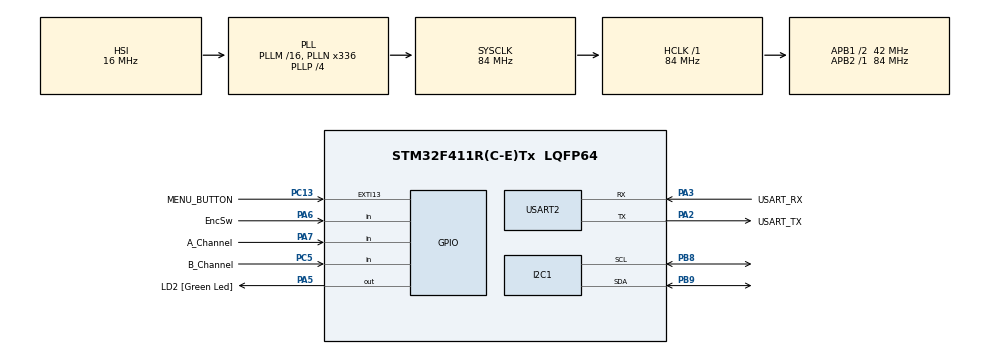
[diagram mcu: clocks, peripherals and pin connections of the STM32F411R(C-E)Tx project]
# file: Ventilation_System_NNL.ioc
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Mcu.Family=STM32F4
Mcu.Name=STM32F411R(C-E)Tx
Mcu.Package=LQFP64
NVIC.EXTI15_10_IRQn=true\:0\:0\:false\:false\:true\:true\:true\:true
NVIC.PriorityGroup=NVIC_PRIORITYGROUP_0
PA13.GPIO_Label=TMS
PA13.Mode=Serial_Wire
PA13.Signal=SYS_JTMS-SWDIO
PA14.GPIO_Label=TCK
PA14.Mode=Serial_Wire
PA14.Signal=SYS_JTCK-SWCLK
PA2.GPIO_Label=USART_TX
PA2.Mode=Asynchronous
PA2.Signal=USART2_TX
PA3.GPIO_Label=USART_RX
PA3.Mode=Asynchronous
PA3.Signal=USART2_RX
PA5.GPIO_Label=LD2 [Green Led]
PA5.Signal=GPIO_Output
PA6.GPIO_Label=EncSw
PA6.Signal=GPIO_Input
PA7.GPIO_Label=A_Channel
PA7.Signal=GPIO_Input
PB3.GPIO_Label=SWO
PB3.Signal=SYS_JTDO-SWO
PB8.Mode=I2C
PB8.Signal=I2C1_SCL
PB9.Mode=I2C
PB9.Signal=I2C1_SDA
PC13-ANTI_TAMP.GPIO_Label=MENU_BUTTON
PC13-ANTI_TAMP.GPIO_ModeDefaultEXTI=GPIO_MODE_IT_FALLING
PC13-ANTI_TAMP.Signal=GPXTI13
PC14-OSC32_IN.Mode=LSE-External-Oscillator
PC14-OSC32_IN.Signal=RCC_OSC32_IN
PC15-OSC32_OUT.Mode=LSE-External-Oscillator
PC15-OSC32_OUT.Signal=RCC_OSC32_OUT
PC5.GPIO_Label=B_Channel
PC5.Signal=GPIO_Input
PH0\ -\ OSC_IN.Mode=HSE-External-Clock-Source
PH0\ -\ OSC_IN.Signal=RCC_OSC_IN
PH1\ -\ OSC_OUT.Mode=HSE-External-Clock-Source
PH1\ -\ OSC_OUT.Signal=RCC_OSC_OUT
ProjectManager.HeapSize=0x200
ProjectManager.StackSize=0x400
ProjectManager.TargetToolchain=STM32CubeIDE
RCC.48MHZClocksFreq_Value=84000000
RCC.AHBFreq_Value=84000000
RCC.APB1CLKDivider=RCC_HCLK_DIV2
RCC.APB1Freq_Value=42000000
RCC.APB1TimFreq_Value=84000000
RCC.APB2Freq_Value=84000000
RCC.APB2TimFreq_Value=84000000
RCC.CortexFreq_Value=84000000
RCC.FLatency-AdvancedSettings=FLASH_LATENCY_2
RCC.HCLKFreq_Value=84000000
RCC.HSE_VALUE=8000000
RCC.HSI_VALUE=16000000
RCC.PLLN=336
RCC.PLLP=RCC_PLLP_DIV4
RCC.SYSCLKFreq_VALUE=84000000
RCC.SYSCLKSource=RCC_SYSCLKSOURCE_PLLCLK
RCC.VCOOutputFreq_Value=336000000
USART2.VirtualMode=VM_ASYNC
board=NUCLEO-F411RE

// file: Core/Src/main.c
/* USER CODE BEGIN Header */
/**
  ******************************************************************************
  * @file           : main.c
  * @brief          : Main program body
  ******************************************************************************
  * @attention
  *
  * Copyright (c) 2026 STMicroelectronics.
  * All rights reserved.
  *
  * This software is licensed under terms that can be found in the LICENSE file
  * in the root directory of this software component.
  * If no LICENSE file comes with this software, it is provided AS-IS.
  *
  ******************************************************************************
  */
/* USER CODE END Header */
#include "main.h"

/* USER CODE BEGIN Includes */
#include <stdio.h>
/* USER CODE END Includes */

/* USER CODE BEGIN PTD */
typedef enum { //State Machine States
	STATE_TEMP_VIEW = 0,
	STATE_SET_ALARM_TEMP,
	STATE_SET_IDLE_TEMP,
	STATE_SET_SAMPLE_RATE,
	STATE_VIEW_THERMOCOUPLES,
	MAX_MENU_STATES
} MenuState_t;
/* USER CODE END PTD */

/* USER CODE BEGIN PD */
#define TIMEOUT_DURATION_MS 60000 // 1 minute timer
/* USER CODE END PD */

/* USER CODE BEGIN PM */
// 1602 I2C address
#define I2C_ADDR 0x27 // I2C address of the PCF8574
// 1602 dimensions
#define LCD_ROWS 2 // Number of rows on the LCD
#define LCD_COLS 16 // Number of columns on the LCD
// 1602 message bit numbers
#define DC_BIT 0 // Data/Command bit (register select bit)
#define EN_BIT 2 // Enable bit
#define BL_BIT 3 // Backlight bit
#define D4_BIT 4 // Data 4 bit
#define D5_BIT 5 // Data 5 bit
#define D6_BIT 6 // Data 6 bit
#define D7_BIT 7 // Data 7 bit
/* USER CODE END PM */

I2C_HandleTypeDef hi2c1;

UART_HandleTypeDef huart2;

/* USER CODE BEGIN PV */

int CW = 0;
int CCW = 0;
int MenuState = 0;
int A = 0;
int B = 0;
int set = 0;
int Gray = 0b00;
int Anext;
int Bnext;

static MenuState_t current_state = STATE_TEMP_VIEW;
static uint32_t last_interaction_tick = 0;

// Initial variables / testing variables
static int current_temp = 150;
static int alarm_temp_max = 650;
static int alarm_temp_old = 650;
static int alarm_temp_new = 500;
static int idle_temp_old = 140;
static int idle_temp_new = 150;
static int sample_rate_old = 60;
static int sample_rate_new = 30;
static int tc1_temp = 150;
static int tc2_temp = 150;
static int tc3_temp = 150;
/* USER CODE END PV */

void SystemClock_Config(void);
static void MX_GPIO_Init(void);
static void MX_USART2_UART_Init(void);
static void MX_I2C1_Init(void);
/* USER CODE BEGIN PFP */
//LCD functions
void CharLCD_Write_Nibble (uint8_t nibble, uint8_t dc);
void CharLCD_Send_Cmd(uint8_t cmd);
void CharLCD_Send_Data(uint8_t data);
void CharLCD_Init();
void CharLCD_Write_String(char *str);
void CharLCD_Set_Cursor(uint8_t row, uint8_t column);
void CharLCD_Clear(void);

//Menu functions
void Menu_Init(void);
void Menu_ButtonPress(void);
void Menu_EncoderRotate(int CW, int CCW);
void Menu_EncoderClick(void);
void Menu_Update(void);
static void Render_CurrentScreen(void);
static void Reset_Timeout(void);
/* USER CODE END PFP */

int main(void)
{

  /* MCU Configuration--------------------------------------------------------*/

  /* Reset of all peripherals, Initializes the Flash interface and the Systick. */
  HAL_Init();

  /* Configure the system clock */
  SystemClock_Config();

  /* Initialize all configured peripherals */
  MX_GPIO_Init();
  MX_USART2_UART_Init();
  MX_I2C1_Init();
  /* USER CODE BEGIN 2 */
  CharLCD_Init(); // Initialize the LCD and Menu
  Menu_Init();
  /* USER CODE END 2 */

  /* Infinite loop */
  /* USER CODE BEGIN WHILE */
  while (1)
  {
	  Menu_Update(); // Do menu things

	  // Menu button pressed
	  if (HAL_GPIO_ReadPin(GPIOC, MENU_BUTTON_Pin) == GPIO_PIN_RESET) {
		  HAL_Delay(50);
		  // Debounce
		  if (HAL_GPIO_ReadPin(GPIOC, MENU_BUTTON_Pin) == GPIO_PIN_RESET) {

			  Menu_ButtonPress();

			  while (HAL_GPIO_ReadPin(GPIOC, MENU_BUTTON_Pin) == GPIO_PIN_RESET) {
				  Menu_Update();
			  }
		  }
	  }
    /* USER CODE END WHILE */

  }
}

void SystemClock_Config(void)
{
  RCC_OscInitTypeDef RCC_OscInitStruct = {0};
  RCC_ClkInitTypeDef RCC_ClkInitStruct = {0};

  /** Configure the main internal regulator output voltage
  */
  __HAL_RCC_PWR_CLK_ENABLE();
  __HAL_PWR_VOLTAGESCALING_CONFIG(PWR_REGULATOR_VOLTAGE_SCALE1);

  /** Initializes the RCC Oscillators according to the specified parameters
  * in the RCC_OscInitTypeDef structure.
  */
  RCC_OscInitStruct.OscillatorType = RCC_OSCILLATORTYPE_HSI;
  RCC_OscInitStruct.HSIState = RCC_HSI_ON;
  RCC_OscInitStruct.HSICalibrationValue = RCC_HSICALIBRATION_DEFAULT;
  RCC_OscInitStruct.PLL.PLLState = RCC_PLL_ON;
  RCC_OscInitStruct.PLL.PLLSource = RCC_PLLSOURCE_HSI;
  RCC_OscInitStruct.PLL.PLLM = 16;
  RCC_OscInitStruct.PLL.PLLN = 336;
  RCC_OscInitStruct.PLL.PLLP = RCC_PLLP_DIV4;
  RCC_OscInitStruct.PLL.PLLQ = 4;
  if (HAL_RCC_OscConfig(&RCC_OscInitStruct) != HAL_OK)
  {
    Error_Handler();
  }

  /** Initializes the CPU, AHB and APB buses clocks
  */
  RCC_ClkInitStruct.ClockType = RCC_CLOCKTYPE_HCLK|RCC_CLOCKTYPE_SYSCLK
                              |RCC_CLOCKTYPE_PCLK1|RCC_CLOCKTYPE_PCLK2;
  RCC_ClkInitStruct.SYSCLKSource = RCC_SYSCLKSOURCE_PLLCLK;
  RCC_ClkInitStruct.AHBCLKDivider = RCC_SYSCLK_DIV1;
  RCC_ClkInitStruct.APB1CLKDivider = RCC_HCLK_DIV2;
  RCC_ClkInitStruct.APB2CLKDivider = RCC_HCLK_DIV1;

  if (HAL_RCC_ClockConfig(&RCC_ClkInitStruct, FLASH_LATENCY_2) != HAL_OK)
  {
    Error_Handler();
  }
}

static void MX_I2C1_Init(void)
{

  hi2c1.Instance = I2C1;
  hi2c1.Init.ClockSpeed = 100000;
  hi2c1.Init.DutyCycle = I2C_DUTYCYCLE_2;
  hi2c1.Init.OwnAddress1 = 0;
  hi2c1.Init.AddressingMode = I2C_ADDRESSINGMODE_7BIT;
  hi2c1.Init.DualAddressMode = I2C_DUALADDRESS_DISABLE;
  hi2c1.Init.OwnAddress2 = 0;
  hi2c1.Init.GeneralCallMode = I2C_GENERALCALL_DISABLE;
  hi2c1.Init.NoStretchMode = I2C_NOSTRETCH_DISABLE;
  if (HAL_I2C_Init(&hi2c1) != HAL_OK)
  {
    Error_Handler();
  }

}

static void MX_USART2_UART_Init(void)
{

  huart2.Instance = USART2;
  huart2.Init.BaudRate = 115200;
  huart2.Init.WordLength = UART_WORDLENGTH_8B;
  huart2.Init.StopBits = UART_STOPBITS_1;
  huart2.Init.Parity = UART_PARITY_NONE;
  huart2.Init.Mode = UART_MODE_TX_RX;
  huart2.Init.HwFlowCtl = UART_HWCONTROL_NONE;
  huart2.Init.OverSampling = UART_OVERSAMPLING_16;
  if (HAL_UART_Init(&huart2) != HAL_OK)
  {
    Error_Handler();
  }

}

static void MX_GPIO_Init(void)
{
  GPIO_InitTypeDef GPIO_InitStruct = {0};

  /* GPIO Ports Clock Enable */
  __HAL_RCC_GPIOC_CLK_ENABLE();
  __HAL_RCC_GPIOH_CLK_ENABLE();
  __HAL_RCC_GPIOA_CLK_ENABLE();
  __HAL_RCC_GPIOB_CLK_ENABLE();

  /*Configure GPIO pin Output Level */
  HAL_GPIO_WritePin(LD2_GPIO_Port, LD2_Pin, GPIO_PIN_RESET);

  /*Configure GPIO pin : MENU_BUTTON_Pin */
  GPIO_InitStruct.Pin = MENU_BUTTON_Pin;
  GPIO_InitStruct.Mode = GPIO_MODE_IT_FALLING;
  GPIO_InitStruct.Pull = GPIO_NOPULL;
  HAL_GPIO_Init(MENU_BUTTON_GPIO_Port, &GPIO_InitStruct);

  /*Configure GPIO pin : LD2_Pin */
  GPIO_InitStruct.Pin = LD2_Pin;
  GPIO_InitStruct.Mode = GPIO_MODE_OUTPUT_PP;
  GPIO_InitStruct.Pull = GPIO_NOPULL;
  GPIO_InitStruct.Speed = GPIO_SPEED_FREQ_LOW;
  HAL_GPIO_Init(LD2_GPIO_Port, &GPIO_InitStruct);

  /*Configure GPIO pins : EncSw_Pin A_Channel_Pin */
  GPIO_InitStruct.Pin = EncSw_Pin|A_Channel_Pin;
  GPIO_InitStruct.Mode = GPIO_MODE_INPUT;
  GPIO_InitStruct.Pull = GPIO_NOPULL;
  HAL_GPIO_Init(GPIOA, &GPIO_InitStruct);

  /*Configure GPIO pin : B_Channel_Pin */
  GPIO_InitStruct.Pin = B_Channel_Pin;
  GPIO_InitStruct.Mode = GPIO_MODE_INPUT;
  GPIO_InitStruct.Pull = GPIO_NOPULL;
  HAL_GPIO_Init(B_Channel_GPIO_Port, &GPIO_InitStruct);

  /* EXTI interrupt init*/
  HAL_NVIC_SetPriority(EXTI15_10_IRQn, 0, 0);
  HAL_NVIC_EnableIRQ(EXTI15_10_IRQn);

}

/* USER CODE BEGIN 4 */

void HAL_GPIO_EXTI_Callback(uint16_t GPIO_Pin){

	if (GPIO_Pin == EncSw_Pin){
		Menu_EncoderClick();
	}

	if (GPIO_Pin == A_Channel_Pin || GPIO_Pin == B_Channel_Pin){
		int ANext = HAL_GPIO_ReadPin(A_Channel_GPIO_Port, A_Channel_Pin);
		int BNext = HAL_GPIO_ReadPin(B_Channel_GPIO_Port, B_Channel_Pin);
		int GrayNext = (ANext << 1) + BNext;

		switch (Gray){
		case 0b00:
			if (GrayNext == 0b01){
				CCW = 1;
			}
			if (GrayNext == 0b10){
				CW = 1;
			}
			break;
		case 0b01:
			if (GrayNext == 0b11){
				CCW = 1;
			}
			if (GrayNext == 0b00){
				CW = 1;
			}
			break;
		case 0b10:
			if (GrayNext == 0b00){
				CCW = 1;
			}
			if (GrayNext == 0b11){
				CW = 1;
			}
			break;
		case 0b11:
			if (GrayNext == 0b10){
				CCW = 1;
			}
			if (GrayNext == 0b01){
				CW = 1;
			}
			break;
		}

		Gray = GrayNext;
		A = Anext;
		B = Bnext;

	}
}

void CharLCD_Write_Nibble(uint8_t nibble, uint8_t dc) {
 uint8_t data = nibble << D4_BIT; // Shift nibble to D4-D7 position
 data |= dc << DC_BIT; // Set DC bit for data/command selection
 data |= 1 << BL_BIT; // Include backlight state in data
 data |= 1 << EN_BIT; // Set enable bit high
 HAL_I2C_Master_Transmit(&hi2c1, I2C_ADDR << 1, &data, 1, 100); // Send data with EN high
 HAL_Delay(1); // Wait for data setup
 data &= ~(1 << EN_BIT); // Clear enable bit (falling edge triggers LCD)
 HAL_I2C_Master_Transmit(&hi2c1, I2C_ADDR << 1, &data, 1, 100); // Send data with EN low
}
/**
 * @brief Send command to LCD
 * @param cmd: 8-bit command to send to LCD controller
 * @retval None
 */
void CharLCD_Send_Cmd(uint8_t cmd) {
 uint8_t upper_nibble = cmd >> 4; // Extract upper 4 bits
 uint8_t lower_nibble = cmd & 0x0F; // Extract lower 4 bits
 CharLCD_Write_Nibble(upper_nibble, 0); // Send upper nibble (DC=0 for command)
 CharLCD_Write_Nibble(lower_nibble, 0); // Send lower nibble (DC=0 for command)
 if (cmd == 0x01 || cmd == 0x02) { // Clear display or return home commands
 HAL_Delay(2); // These commands need extra time
 }
}
/**
 * @brief Send data (character) to LCD
 * @param data: 8-bit character data to display
 * @retval None
 */
void CharLCD_Send_Data(uint8_t data) {
 uint8_t upper_nibble = data >> 4; // Extract upper 4 bits
 uint8_t lower_nibble = data & 0x0F; // Extract lower 4 bits
 CharLCD_Write_Nibble(upper_nibble, 1); // Send upper nibble (DC=1 for data)
 CharLCD_Write_Nibble(lower_nibble, 1); // Send lower nibble (DC=1 for data)
}
/**
 * @brief Initialize LCD in 4-bit mode via I2C
 * @param None
 * @retval None
 */
void CharLCD_Init() {
 HAL_Delay(50); // Wait for LCD power-on reset (>40ms)
 CharLCD_Write_Nibble(0x03, 0); // Function set: 8-bit mode (first attempt)
 HAL_Delay(5); // Wait >4.1ms
 CharLCD_Write_Nibble(0x03, 0); // Function set: 8-bit mode (second attempt)
 HAL_Delay(1); // Wait >100us
 CharLCD_Write_Nibble(0x03, 0); // Function set: 8-bit mode (third attempt)
 HAL_Delay(1); // Wait >100us
 CharLCD_Write_Nibble(0x02, 0); // Function set: switch to 4-bit mode
 CharLCD_Send_Cmd(0x28); // Function set: 4-bit, 2 lines, 5x8 font
 CharLCD_Send_Cmd(0x0C); // Display control: display on/cursor off/blink off
 CharLCD_Send_Cmd(0x06); // Entry mode: increment cursor, no shift
 CharLCD_Send_Cmd(0x01); // Clear display
 HAL_Delay(2); // Wait for clear display command
}
/**
 * @brief Write string to LCD at current cursor position
 * @param str: Pointer to null-terminated string
 * @retval None
 */
void CharLCD_Write_String(char *str) {
 while (*str) { // Loop until null terminator
 CharLCD_Send_Data(*str++); // Send each character and increment pointer
 }
}

void CharLCD_Set_Cursor(uint8_t row, uint8_t column) {
 uint8_t address;
 switch (row) {
 case 0:
 address = 0x00; break; // First line starts at address 0x00
 case 1:
 address = 0x40; break; // Second line starts at address 0x40
 default:
 address = 0x00; // Default to first line for invalid row
 }
 address += column; // Add column offset
 CharLCD_Send_Cmd(0x80 | address); // Set DDRAM address command (0x80 + address)
}
/**
 * @brief Clear LCD display and return cursor to home position
 * @param None
 * @retval None
 */
void CharLCD_Clear(void) {
 CharLCD_Send_Cmd(0x01); // Clear display command
 HAL_Delay(2); // Wait for command execution
}

// State Machine
void Menu_Init(void) {
	current_state = STATE_TEMP_VIEW;
	Reset_Timeout();
	Render_CurrentScreen();
}

// Cycle through Menu States when Menu Button is pressed.
void Menu_ButtonPress(void) {
	Reset_Timeout();
	current_state = (MenuState_t)((current_state + 1) % MAX_MENU_STATES);
	Render_CurrentScreen();
}

// Temporary Rotary encoder code
// Update to match Bryce's work.
void Menu_EncoderRotate(int CW, int CCW) {
	Reset_Timeout();

	switch (current_state) {
		case STATE_SET_ALARM_TEMP:
			if (CW) {
				alarm_temp_new ++;
				CW = 0;
			}
			if (CCW) {
				alarm_temp_new --;
				CCW = 0;
			}
			// Prevent alarm being set above max or below idle temps
			if (alarm_temp_new > alarm_temp_max)
				alarm_temp_new = alarm_temp_max;
			if (alarm_temp_new < (idle_temp_old + 5))
				alarm_temp_new = (idle_temp_old + 5);
			break;

		case STATE_SET_IDLE_TEMP:
			if (CW) {
				idle_temp_new ++;
				CW = 0;
			}
			if (CCW) {
				idle_temp_new --;
				CCW = 0;
			}
			// Prevent idle being set above alarm or below 0 temps.
			if (idle_temp_new > (alarm_temp_old - 5))
				idle_temp_new = (alarm_temp_old - 5);
			if (idle_temp_new < 0)
				idle_temp_new = 0;
			break;

		case STATE_SET_SAMPLE_RATE:
			if (CW) {
				sample_rate_new ++;
				CW = 0;
			}
			if (CCW) {
				sample_rate_new --;
				CCW = 0;
			}
			if (sample_rate_new < 1)
				sample_rate_new = 1;
			break;

		default:
			break;
	}
	Render_CurrentScreen();
}

// When Rotary Encoder is pressed, set new temps.
void Menu_EncoderClick(void) {
	Reset_Timeout();

	switch (current_state) {
		case STATE_SET_ALARM_TEMP:
			alarm_temp_old = alarm_temp_new;
			break;
		case STATE_SET_IDLE_TEMP:
			idle_temp_old = idle_temp_new;
			break;
		case STATE_SET_SAMPLE_RATE:
			sample_rate_old = sample_rate_new;
			break;
		default:
			break;
	}
	Render_CurrentScreen();
}

// If controller has not been interacted with for 1 minute, set screen to Temp View.
void Menu_Update(void) {
	if (current_state != STATE_TEMP_VIEW) {
		if ((HAL_GetTick() - last_interaction_tick) >= TIMEOUT_DURATION_MS) {
			current_state = STATE_TEMP_VIEW;
			Render_CurrentScreen();
		}
	}
}

// Reset 1 minute timer
static void Reset_Timeout(void) {
	last_interaction_tick = HAL_GetTick();
}

// Update the LCD screen with current info
static void Render_CurrentScreen(void) {
	// Reset screen
	char line1[17];
	char line2[17];

	for(int i=0; i<17; i++) {
		line1[i] = '\0';
		line2[i] = '\0';
	}
	// Print screen according to current state.
	switch (current_state) {
		case STATE_TEMP_VIEW:
			snprintf(line1, sizeof(line1), "Current     %3dF", current_temp);
			snprintf(line2, sizeof(line2), "Temp            ");
			break;
		case STATE_SET_ALARM_TEMP:
			snprintf(line1, sizeof(line1), "Alarm  Old: %3dF", alarm_temp_old);
		    snprintf(line2, sizeof(line2), "Temp   New: %3dF", alarm_temp_new);
		    break;

		case STATE_SET_IDLE_TEMP:
			snprintf(line1, sizeof(line1), "Idle   Old: %3dF", idle_temp_old);
			snprintf(line2, sizeof(line2), "Temp   New: %3dF", idle_temp_new);
			break;

		case STATE_SET_SAMPLE_RATE:
			snprintf(line1, sizeof(line1), "Sample Old: %2d/h", sample_rate_old);
			snprintf(line2, sizeof(line2), "Rate   New: %2d/h", sample_rate_new);
			break;

		case STATE_VIEW_THERMOCOUPLES:
			snprintf(line1, sizeof(line1), "TCs : 1   2   3 ");
			snprintf(line2, sizeof(line2), "Temp:%3d %3d %3d", tc1_temp, tc2_temp, tc3_temp);
			break;

		default:
			// If we see this, something went wrong
			snprintf(line1, sizeof(line1), "Unknown Screen");
			break;
	}

	//Write to LCD
	CharLCD_Clear();
	CharLCD_Set_Cursor(0, 0);
	CharLCD_Write_String(line1);
	CharLCD_Set_Cursor(1, 0);
	CharLCD_Write_String(line2);
}
/* USER CODE END 4 */

void Error_Handler(void)
{
  __disable_irq();
  while (1)
  {
  }
}
